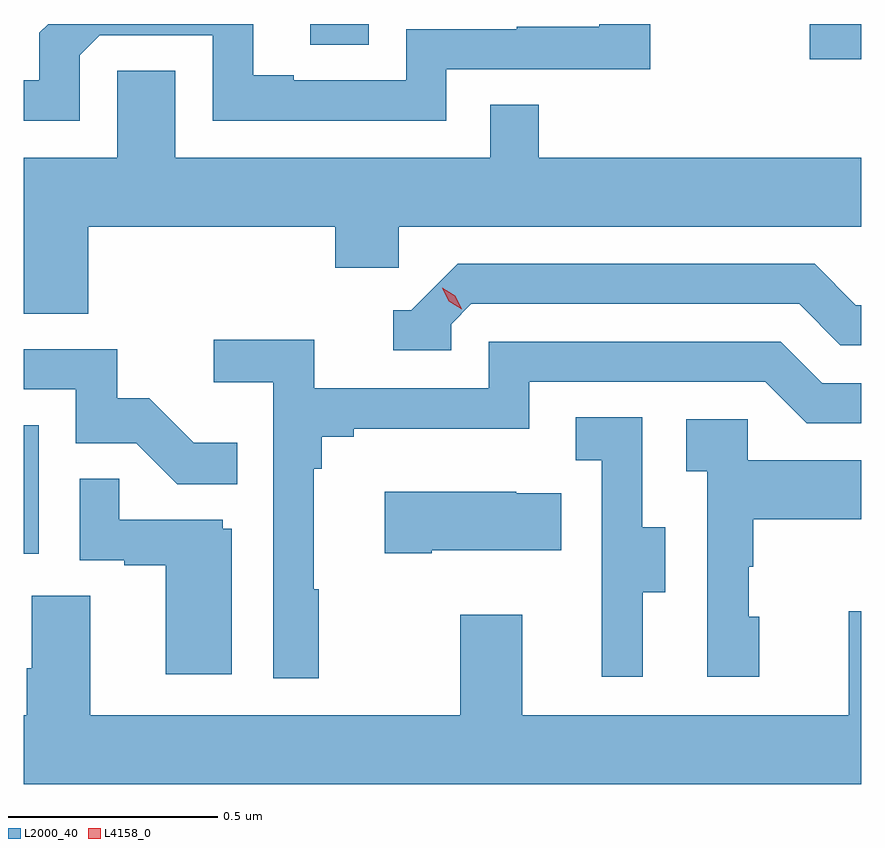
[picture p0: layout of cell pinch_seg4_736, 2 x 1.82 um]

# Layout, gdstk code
import gdstk
lib = gdstk.Library(unit=1e-6, precision=1e-09)
def R(c, l, rs):  # rectangles x0, y0, x1, y1
    for r in rs: c.add(gdstk.rectangle(r[:2], r[2:], *l))
def P(c, l, *ps):  # polygons
    for p in ps: c.add(gdstk.Polygon(p, *l))
L2000_40 = (2000, 40)
L4158_0 = (4158, 0)

pinch_seg4_736 = lib.new_cell('pinch_seg4_736')
R(pinch_seg4_736, L2000_40, [(834.113,817.35,834.148,817.657), (835.991,818.532,836.113,818.616), (834.797,818.566,834.937,818.616)])
P(pinch_seg4_736, L2000_40, [(834.246,818.541),(834.294,818.589),(834.564,818.589),(834.564,818.385),(835.122,818.385),(835.122,818.508),(835.609,818.508),(835.609,818.616),(835.488,818.616),(835.488,818.609),(835.291,818.609),(835.291,818.604),(835.026,818.604),(835.026,818.481),(834.757,818.481),(834.757,818.494),(834.661,818.494),(834.661,818.616),(834.171,818.616),(834.15,818.595),(834.15,818.481),(834.113,818.481),(834.113,818.385),(834.246,818.385)],
  [(834.266,818.132),(834.857,818.132),(834.857,818.034),(835.008,818.034),(835.008,818.132),(836.113,818.132),(836.113,818.296),(835.343,818.296),(835.343,818.423),(835.227,818.423),(835.227,818.296),(834.475,818.296),(834.475,818.504),(834.336,818.504),(834.336,818.296),(834.113,818.296),(834.113,817.924),(834.266,817.924)],
  [(835.134,817.899),(835.182,817.947),(835.965,817.947),(836.064,817.848),(836.113,817.848),(836.113,817.944),(836.101,817.944),(836.002,818.043),(835.149,818.043),(835.038,817.932),(834.995,817.932),(834.995,817.836),(835.134,817.836)],
  [(834.817,817.265),(834.805,817.265),(834.805,817.553),(834.824,817.553),(834.824,817.63),(834.901,817.63),(834.901,817.649),(835.32,817.649),(835.32,817.761),(835.884,817.761),(835.983,817.662),(836.113,817.662),(836.113,817.758),(836.02,817.758),(835.921,817.857),(835.224,817.857),(835.224,817.746),(834.806,817.746),(834.806,817.862),(834.567,817.862),(834.567,817.76),(834.708,817.76),(834.708,817.053),(834.817,817.053)],
  [(834.623,817.615),(834.519,817.615),(834.412,817.722),(834.336,817.722),(834.336,817.839),(834.113,817.839),(834.113,817.743),(834.237,817.743),(834.237,817.614),(834.381,817.614),(834.479,817.516),(834.623,817.516)],
  [(835.591,817.258),(835.645,817.258),(835.645,817.413),(835.59,817.413),(835.59,817.676),(835.431,817.676),(835.431,817.573),(835.494,817.573),(835.494,817.269),(835.493,817.269),(835.493,817.056),(835.591,817.056)],
  [(835.87,817.2),(835.845,817.2),(835.845,817.319),(835.855,817.319),(835.855,817.433),(836.113,817.433),(836.113,817.573),(835.842,817.573),(835.842,817.671),(835.695,817.671),(835.695,817.547),(835.746,817.547),(835.746,817.056),(835.87,817.056)],
  [(834.61,817.41),(834.588,817.41),(834.588,817.431),(834.341,817.431),(834.341,817.529),(834.246,817.529),(834.246,817.335),(834.353,817.335),(834.353,817.323),(834.452,817.323),(834.452,817.062),(834.61,817.062)],
  [(835.087,817.358),(835.397,817.358),(835.397,817.495),(835.289,817.495),(835.289,817.498),(834.975,817.498),(834.975,817.351),(835.087,817.351)],
  [(835.156,817.204),(835.156,816.964),(834.271,816.964),(834.271,817.25),(834.131,817.25),(834.131,817.076),(834.119,817.076),(834.119,816.964),(834.113,816.964),(834.113,816.8),(836.113,816.8),(836.113,817.213),(836.084,817.213),(836.084,816.964),(835.303,816.964),(835.303,817.204)])
P(pinch_seg4_736, L4158_0, [(835.159,817.934),(835.128,817.953),(835.112,817.986),(835.112,817.986),(835.112,817.986),(835.143,817.967),(835.159,817.934),(835.159,817.934)])

lib.write_gds('pinch_seg4_736.gds')
